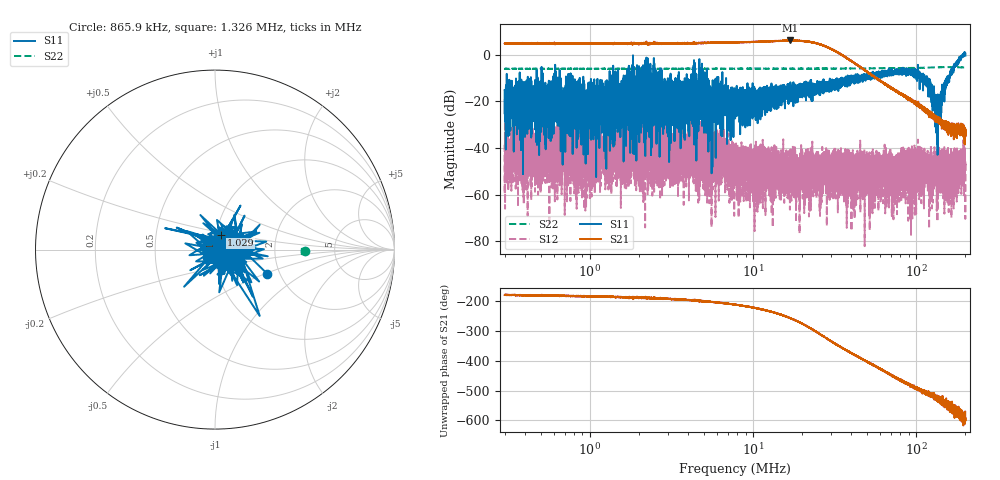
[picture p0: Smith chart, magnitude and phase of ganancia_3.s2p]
# Hz S DB R 50
! CMT, M5065, 19127446, 24.2.4/2
! Date: 11/1/2024 3:05:08 PM
! Data: Format (Calibration Info)
! Freq	S11:dB/Ang(F2)	S21:dB/Ang(F2)	S12:dB/Ang(F2)	S22:dB/Ang(F2)
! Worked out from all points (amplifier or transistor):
!   9000 points, 300 kHz to 200 MHz, reference 50 ohm
!   highest |S21| = 6.1 dB at 16.89 MHz (marker M1)
!   |S21| within 3 dB of that: start of sweep to 28.7 MHz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
!   unconditionally stable (mu >= 1): start of sweep to 1.837 MHz; 1.837 MHz to 192 MHz; 192.1751 MHz to 192.7968 MHz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
!   at 886.8 kHz: K = 29.10, MAG = 6.2 dB, |S12| = -42.7 dB
!   at 7.749 MHz: K = 58.61, MAG = 6.6 dB, |S12| = -49.2 dB
!   at 200 MHz: K = 234.15, MAG = -19.1 dB, |S12| = -47.2 dB
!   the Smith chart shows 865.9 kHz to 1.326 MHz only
!   S11 on the Smith chart (normalised r, x): 865.9 kHz: 1.72, -0.51; 1.029 MHz: 1.06, +0.18; 1.326 MHz: 0.91, -0.07
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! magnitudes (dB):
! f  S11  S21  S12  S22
! 300 kHz  -15.2  4.8  -38.6  -6.0
! 388.3 kHz  -18.1  4.9  -37.2  -6.0
! 865.9 kHz  -9.9  4.7  -43.9  -6.0
! 886.8 kHz  -38.6  4.9  -42.7  -6.1
! 1.029 MHz  -21.0  4.9  -41.7  -6.0
! 1.326 MHz  -24.3  4.9  -47.2  -6.0
! 2.621 MHz  -14.0  4.8  -44.6  -6.0
! 3.051 MHz  -20.0  4.9  -42.7  -6.0
! 4.523 MHz  -23.2  5.0  -40.3  -6.0
! 7.749 MHz  -24.0  5.3  -49.2  -6.0
! 16.89 MHz  -13.7  6.1  -46.1  -6.0
! 18.74 MHz  -14.4  6.0  -53.5  -6.0
! 20.01 MHz  -17.5  5.9  -40.6  -6.0
! 22.91 MHz  -14.8  5.3  -50.0  -6.0
! 67.71 MHz  -7.8  -13.5  -47.7  -5.7
! 84.04 MHz  -6.8  -17.4  -47.6  -5.7
! 95.02 MHz  -8.1  -20.0  -50.0  -5.7
! 105.1 MHz  -8.8  -22.9  -45.4  -5.6
! 118.7 MHz  -12.3  -24.2  -51.7  -5.5
! 135.2 MHz  -23.2  -26.8  -52.3  -5.4
! 166 MHz  -7.2  -30.3  -51.2  -5.4
! 200 MHz  -0.3  -32.0  -47.2  -5.4
